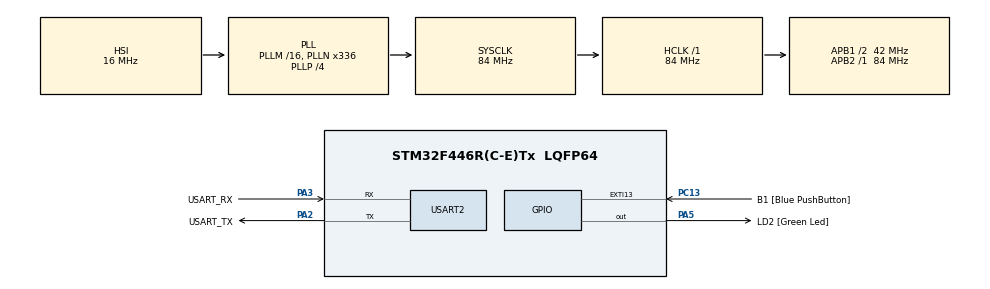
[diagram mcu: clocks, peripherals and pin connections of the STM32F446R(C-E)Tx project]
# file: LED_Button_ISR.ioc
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Mcu.Family=STM32F4
Mcu.Name=STM32F446R(C-E)Tx
Mcu.Package=LQFP64
NVIC.EXTI15_10_IRQn=true\:6\:0\:true\:false\:true\:true\:true
NVIC.PriorityGroup=NVIC_PRIORITYGROUP_4
NVIC.TIM6_DAC_IRQn=true\:0\:0\:false\:false\:true\:false\:true
NVIC.TimeBase=TIM6_DAC_IRQn
NVIC.TimeBaseIP=TIM6
PA13.GPIO_Label=TMS
PA13.Signal=SYS_JTMS-SWDIO
PA14.GPIO_Label=TCK
PA14.Signal=SYS_JTCK-SWCLK
PA2.GPIO_Label=USART_TX
PA2.Mode=Asynchronous
PA2.Signal=USART2_TX
PA3.GPIO_Label=USART_RX
PA3.Mode=Asynchronous
PA3.Signal=USART2_RX
PA5.GPIO_Label=LD2 [Green Led]
PA5.Signal=GPIO_Output
PB3.GPIO_Label=SWO
PB3.Signal=SYS_JTDO-SWO
PC13.GPIO_Label=B1 [Blue PushButton]
PC13.GPIO_ModeDefaultEXTI=GPIO_MODE_IT_FALLING
PC13.Signal=GPXTI13
ProjectManager.HeapSize=0x200
ProjectManager.StackSize=0x400
ProjectManager.TargetToolchain=STM32CubeIDE
RCC.AHBFreq_Value=84000000
RCC.APB1CLKDivider=RCC_HCLK_DIV2
RCC.APB1Freq_Value=42000000
RCC.APB1TimFreq_Value=84000000
RCC.APB2Freq_Value=84000000
RCC.APB2TimFreq_Value=84000000
RCC.CortexFreq_Value=84000000
RCC.FLatency-AdvancedSettings=FLASH_LATENCY_2
RCC.HCLKFreq_Value=84000000
RCC.HSE_VALUE=8000000
RCC.HSI_VALUE=16000000
RCC.LSE_VALUE=32768
RCC.PLLN=336
RCC.PLLP=RCC_PLLP_DIV4
RCC.SYSCLKFreq_VALUE=84000000
RCC.SYSCLKSource=RCC_SYSCLKSOURCE_PLLCLK
RCC.USBFreq_Value=168000000
RCC.VCOOutputFreq_Value=336000000
USART2.VirtualMode=VM_ASYNC
VP_SYS_VS_tim6.Mode=TIM6
board=NUCLEO-F446RE

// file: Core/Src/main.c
/*
  Create task's that toggles led and when user presses the button, the button interrupt handler must run,
  and it should send notificaion to the current LED toggling task, and when LED toggling task receives the
  notficaion, it should delete itself.
*/

/* USER CODE BEGIN Header */
/**
  ******************************************************************************
  * @file           : main.c
  * @brief          : Main program body
  ******************************************************************************
  * @attention
  *
  * <h2><center>&copy; Copyright (c) 2021 STMicroelectronics.
  * All rights reserved.</center></h2>
  *
  * This software component is licensed by ST under BSD 3-Clause license,
  * the "License"; You may not use this file except in compliance with the
  * License. You may obtain a copy of the License at:
  *                        opensource.org/licenses/BSD-3-Clause
  *
  ******************************************************************************
  */
/* USER CODE END Header */
#include "main.h"

/* USER CODE BEGIN Includes */

#include "stdint.h"
#include <string.h>

#include "FreeRTOS.h"
#include "task.h"

/* USER CODE END Includes */

UART_HandleTypeDef huart2;

/* USER CODE BEGIN PV */

//static uint8_t button_pressed;
TaskHandle_t task1_handler_address;
TaskHandle_t task2_handler_address;
TaskHandle_t task3_handler_address;

/* USER CODE END PV */

void SystemClock_Config(void);
static void MX_GPIO_Init(void);
static void MX_USART2_UART_Init(void);
/* USER CODE BEGIN PFP */
static void button_task_handler(void *);
static void led_task_handler(void *);
static void print_task_handler(void *);
void button_handler();
static void rtos_delay(uint32_t ms_delay);
/* USER CODE END PFP */

int main(void)
{
  /* USER CODE BEGIN 1 */

  BaseType_t ret;

  /* USER CODE END 1 */

  /* MCU Configuration--------------------------------------------------------*/

  /* Reset of all peripherals, Initializes the Flash interface and the Systick. */
  HAL_Init();

  /* Configure the system clock */
  SystemClock_Config();

  /* Initialize all configured peripherals */
  MX_GPIO_Init();
  MX_USART2_UART_Init();

  /* USER CODE BEGIN 2 */

  //ret = xTaskCreate(button_task_handler, "BUTTON TASK", 500, "BUTTON TASK running\n\n", 2, &task1_handler_address);
  //configASSERT(ret == pdPASS);

  ret = xTaskCreate(led_task_handler, "LED TASK", 500, "LED TASK running\n\n", 2, &task2_handler_address);
  configASSERT(ret == pdPASS);

  //ret = xTaskCreate(print_task_handler, "PRINT TASK", 500, "PRINT TASK running\n\n", 2, &task3_handler_address);
  //configASSERT(ret == pdPASS);

  //Start the Schedular
  vTaskStartScheduler();

  //Note: Control never comes out of this function ie Schedular untill unless schedular launch is failed

  /* USER CODE END 2 */

  /* Infinite loop */
  while (1)
  {

  }
}

void SystemClock_Config(void)
{
  RCC_OscInitTypeDef RCC_OscInitStruct = {0};
  RCC_ClkInitTypeDef RCC_ClkInitStruct = {0};

  /** Configure the main internal regulator output voltage
  */
  __HAL_RCC_PWR_CLK_ENABLE();
  __HAL_PWR_VOLTAGESCALING_CONFIG(PWR_REGULATOR_VOLTAGE_SCALE3);
  /** Initializes the RCC Oscillators according to the specified parameters
  * in the RCC_OscInitTypeDef structure.
  */
  RCC_OscInitStruct.OscillatorType = RCC_OSCILLATORTYPE_HSI;
  RCC_OscInitStruct.HSIState = RCC_HSI_ON;
  RCC_OscInitStruct.HSICalibrationValue = RCC_HSICALIBRATION_DEFAULT;
  RCC_OscInitStruct.PLL.PLLState = RCC_PLL_ON;
  RCC_OscInitStruct.PLL.PLLSource = RCC_PLLSOURCE_HSI;
  RCC_OscInitStruct.PLL.PLLM = 16;
  RCC_OscInitStruct.PLL.PLLN = 336;
  RCC_OscInitStruct.PLL.PLLP = RCC_PLLP_DIV4;
  RCC_OscInitStruct.PLL.PLLQ = 2;
  RCC_OscInitStruct.PLL.PLLR = 2;
  if (HAL_RCC_OscConfig(&RCC_OscInitStruct) != HAL_OK)
  {
    Error_Handler();
  }
  /** Initializes the CPU, AHB and APB buses clocks
  */
  RCC_ClkInitStruct.ClockType = RCC_CLOCKTYPE_HCLK|RCC_CLOCKTYPE_SYSCLK
                              |RCC_CLOCKTYPE_PCLK1|RCC_CLOCKTYPE_PCLK2;
  RCC_ClkInitStruct.SYSCLKSource = RCC_SYSCLKSOURCE_PLLCLK;
  RCC_ClkInitStruct.AHBCLKDivider = RCC_SYSCLK_DIV1;
  RCC_ClkInitStruct.APB1CLKDivider = RCC_HCLK_DIV2;
  RCC_ClkInitStruct.APB2CLKDivider = RCC_HCLK_DIV1;

  if (HAL_RCC_ClockConfig(&RCC_ClkInitStruct, FLASH_LATENCY_2) != HAL_OK)
  {
    Error_Handler();
  }
}

static void MX_USART2_UART_Init(void)
{

  huart2.Instance = USART2;
  huart2.Init.BaudRate = 115200;
  huart2.Init.WordLength = UART_WORDLENGTH_8B;
  huart2.Init.StopBits = UART_STOPBITS_1;
  huart2.Init.Parity = UART_PARITY_NONE;
  huart2.Init.Mode = UART_MODE_TX_RX;
  huart2.Init.HwFlowCtl = UART_HWCONTROL_NONE;
  huart2.Init.OverSampling = UART_OVERSAMPLING_16;
  if (HAL_UART_Init(&huart2) != HAL_OK)
  {
    Error_Handler();
  }

}

static void MX_GPIO_Init(void)
{
  GPIO_InitTypeDef GPIO_InitStruct = {0};

  /* GPIO Ports Clock Enable */
  __HAL_RCC_GPIOC_CLK_ENABLE();
  __HAL_RCC_GPIOA_CLK_ENABLE();
  __HAL_RCC_GPIOB_CLK_ENABLE();

  /*Configure GPIO pin Output Level */
  HAL_GPIO_WritePin(LD2_GPIO_Port, LD2_Pin, GPIO_PIN_RESET);

  /*Configure GPIO pin : B1_Pin */
  GPIO_InitStruct.Pin = B1_Pin;
  GPIO_InitStruct.Mode = GPIO_MODE_IT_FALLING;
  GPIO_InitStruct.Pull = GPIO_NOPULL;
  HAL_GPIO_Init(B1_GPIO_Port, &GPIO_InitStruct);

  /*Configure GPIO pin : LD2_Pin */
  GPIO_InitStruct.Pin = LD2_Pin;
  GPIO_InitStruct.Mode = GPIO_MODE_OUTPUT_PP;
  GPIO_InitStruct.Pull = GPIO_NOPULL;
  GPIO_InitStruct.Speed = GPIO_SPEED_FREQ_LOW;
  HAL_GPIO_Init(LD2_GPIO_Port, &GPIO_InitStruct);

  /* EXTI interrupt init*/
  HAL_NVIC_SetPriority(EXTI15_10_IRQn, 6, 0);
  HAL_NVIC_EnableIRQ(EXTI15_10_IRQn);

}

/* USER CODE BEGIN 4 */

/*static void button_task_handler(void * parameter)
{

    while(1)
    {
      HAL_UART_AbortTransmit(&huart2);
      if (HAL_UART_Transmit(&huart2, (uint8_t *)parameter, 21, 100) != HAL_OK)
      {
        Error_Handler();
      }
      HAL_Delay(1000);

      //BY DEFAULT BUTTON PIN IS CONNECTED TO HIGH
      if (!HAL_GPIO_ReadPin(B1_GPIO_Port, B1_Pin))
      {
          //BUTTON PRESSED

          //DELAY TO AVOID BUTTON DEBOUNCING, THEREFORE AVOIDING MULTIPLE NOTIFICATIONS
          rtos_delay(100);

          //NOTIFY LED TASK TO TOGGLE LED
          xTaskNotify(task2_handler_address, 0x0, eNoAction);

          //NOTIFY PRINT TASK TO PRINT NUMBER OF TIMES BUTTON PRESSED
          xTaskNotify(task3_handler_address, 0x0, eIncrement);
      }
    }
}*/

static void led_task_handler(void * parameter)
{
    while(1)
    {
      printf("%s\n", parameter);

      //HAL_Delay(1000);

      HAL_GPIO_TogglePin(LD2_GPIO_Port, LD2_Pin);

      //wait untill notification event is not received from button ISR
      if (xTaskNotifyWait( 0, 0, NULL, pdMS_TO_TICKS(500) ) == pdTRUE)
      {
        printf("NOTIFICATION RECEIVED, DELETING LED TASK\n");
        //NOTIFICATION IS RECEIVED
        vTaskDelete(NULL);
      }
    }
}

/*static void print_task_handler(void * parameter)
{
  while(1)
  {
      uint32_t current_notif_value = 0;
      //uint8_t message[23] = "Button press count: \n";

      HAL_UART_AbortTransmit(&huart2);
      if (HAL_UART_Transmit(&huart2, (uint8_t *)parameter, 21, 100) != HAL_OK)
      {
        Error_Handler();
      }
      HAL_Delay(1000);

      //BY DEFAULT VALUE OF NOTIF COUNT IS 0, THEREFORE CURRENT_NOTIF_VALUE WILL GIVE NUMBER OF BUTTON PRESS
      if(xTaskNotifyWait(0, 0, &current_notif_value, portMAX_DELAY ) == pdTRUE)
      {

        //message[22] =  (uint8_t)current_notif_value;
        //USART_Send(message, 23);
        //USART_Send(message[22], 4);
        //USART_Send("\n", 1);
      }
  }
}*/

void button_handler()
{

  BaseType_t pxHigherPriorityTaskWoken = pdFALSE;

  //NOTIFY LED TASK WHICH IS TOGGLING LED, AND THEREFORE DELETE THE LED TASK
  xTaskNotifyFromISR(task2_handler_address, 0, eNoAction, &pxHigherPriorityTaskWoken);
  /*Note: if sending notification wakes up any higher priority task,
          then pxHigherPriorityTaskWoken changes this field to pdTRUE. */

  portYIELD_FROM_ISR(pxHigherPriorityTaskWoken);

  /*BY THIS MACRO WE HAVE FORCED SCHEDULER TO RUN AFTER ISR EXITS,
   AND HIGHER PRIORITY TASK WILL COME INTO CPU IF NOTIFY FROMISR()
   API UNLBOCKS SOME HIGHER PRIORITY TASK */
}

void USART_Send(uint8_t * data, uint8_t size)
{
    HAL_UART_AbortTransmit(&huart2);
    if(HAL_UART_Transmit(&huart2, data, size, 100))
    {
      Error_Handler();
    }
}

/**
  * @brief
  * @note   This function is called  when GPIO interrupt took place, inside
  * HAL_GPIO_EXTI_IRQHandler().
  * @retval None
  */

void HAL_GPIO_EXTI_Callback(uint16_t GPIO_Pin)
{
  button_handler();
}

static void rtos_delay(uint32_t ms_delay)
{
  uint32_t current_tick_count = xTaskGetTickCount();
  uint32_t tick_count_after_delay = current_tick_count + (ms_delay * configTICK_RATE_HZ)/1000;

  while(xTaskGetTickCount() != tick_count_after_delay);

}

/* USER CODE END 4 */

 /**
  * @brief  Period elapsed callback in non blocking mode
  * @note   This function is called  when TIM6 interrupt took place, inside
  * HAL_TIM_IRQHandler(). It makes a direct call to HAL_IncTick() to increment
  * a global variable "uwTick" used as application time base.
  * @param  htim : TIM handle
  * @retval None
  */
void HAL_TIM_PeriodElapsedCallback(TIM_HandleTypeDef *htim)
{
  if (htim->Instance == TIM6) {
    HAL_IncTick();
  }
}

void Error_Handler(void)
{
  __disable_irq();
  while (1)
  {
  }
}

/************************ (C) COPYRIGHT STMicroelectronics *****END OF FILE****/
